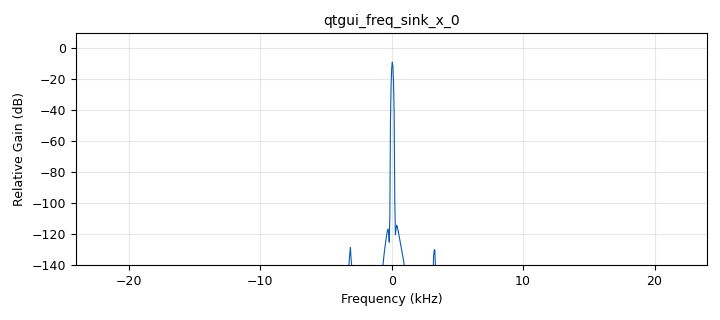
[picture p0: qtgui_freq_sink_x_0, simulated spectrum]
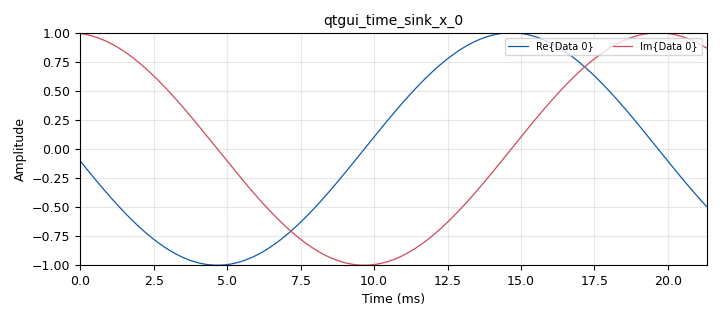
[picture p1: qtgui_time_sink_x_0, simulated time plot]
<?xml version='1.0' encoding='utf-8'?>
<?grc format='1' created='3.7.13'?>
<flow_graph>
<block>
<key>options</key>
<param><key>id</key><value>top_block</value></param>
<param><key>generate_options</key><value>qt_gui</value></param>
</block>
<block>
<key>variable</key>
<param><key>id</key><value>samp_rate</value></param>
<param><key>value</key><value>48000</value></param>
</block>
<block>
<key>variable_qtgui_range</key>
<param><key>id</key><value>ui_freq</value></param>
<param><key>value</key><value>50</value></param>
<param><key>orient</key><value>Qt.Horizontal</value></param>
<param><key>start</key><value>10</value></param>
<param><key>step</key><value>10</value></param>
<param><key>stop</key><value>1000</value></param>
</block>
<block>
<key>variable_qtgui_chooser</key>
<param><key>id</key><value>uisigtype</value></param>
<param><key>value</key><value>101</value></param>
<param><key>label0</key><value>Sine</value></param>
<param><key>label1</key><value>Square</value></param>
<param><key>label2</key><value>Constant</value></param>
<param><key>label3</key><value>Cosine</value></param>
<param><key>label4</key><value>Triangle</value></param>
<param><key>num_opts</key><value>5</value></param>
<param><key>option0</key><value>101</value></param>
<param><key>option1</key><value>103</value></param>
<param><key>option2</key><value>100</value></param>
<param><key>option3</key><value>102</value></param>
<param><key>option4</key><value>104</value></param>
<param><key>type</key><value>int</value></param>
</block>
<block>
<key>analog_sig_source_x</key>
<param><key>id</key><value>analog_sig_source_x_0</value></param>
<param><key>amp</key><value>1</value></param>
<param><key>freq</key><value>ui_freq</value></param>
<param><key>offset</key><value>0</value></param>
<param><key>type</key><value>complex</value></param>
<param><key>samp_rate</key><value>samp_rate</value></param>
<param><key>waveform</key><value>uisigtype</value></param>
</block>
<block>
<key>blocks_throttle</key>
<param><key>id</key><value>blocks_throttle_0</value></param>
<param><key>samples_per_second</key><value>samp_rate</value></param>
<param><key>type</key><value>complex</value></param>
</block>
<block>
<key>qtgui_freq_sink_x</key>
<param><key>id</key><value>qtgui_freq_sink_x_0</value></param>
<param><key>bw</key><value>samp_rate</value></param>
<param><key>fc</key><value>0</value></param>
<param><key>fftsize</key><value>1024</value></param>
<param><key>showports</key><value>True</value></param>
<param><key>type</key><value>complex</value></param>
<param><key>wintype</key><value>firdes.WIN_BLACKMAN_hARRIS</value></param>
</block>
<block>
<key>qtgui_time_sink_x</key>
<param><key>id</key><value>qtgui_time_sink_x_0</value></param>
<param><key>color1</key><value>"blue"</value></param>
<param><key>label1</key><value></value></param>
<param><key>color2</key><value>"red"</value></param>
<param><key>label2</key><value></value></param>
<param><key>size</key><value>1024</value></param>
<param><key>srate</key><value>samp_rate</value></param>
<param><key>type</key><value>complex</value></param>
</block>
<connection><source_block_id>analog_sig_source_x_0</source_block_id><sink_block_id>blocks_throttle_0</sink_block_id><source_key>0</source_key><sink_key>0</sink_key></connection>
<connection><source_block_id>blocks_throttle_0</source_block_id><sink_block_id>qtgui_freq_sink_x_0</sink_block_id><source_key>0</source_key><sink_key>0</sink_key></connection>
<connection><source_block_id>blocks_throttle_0</source_block_id><sink_block_id>qtgui_time_sink_x_0</sink_block_id><source_key>0</source_key><sink_key>0</sink_key></connection>
</flow_graph>
